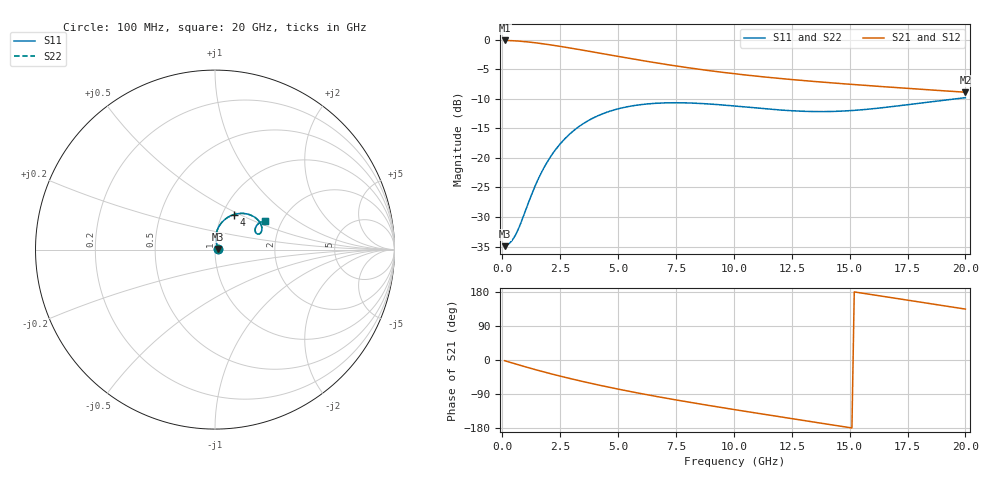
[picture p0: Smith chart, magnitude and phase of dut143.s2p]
! Created with skrf 1.9.0 (http://scikit-rf.org).
# GHz S RI R 50.0
!freq ReS11 ImS11 ReS21 ImS21 ReS12 ImS12 ReS22 ImS22
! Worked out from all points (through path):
!   200 points, 100 MHz to 20 GHz, reference 50 ohm
!   highest |S21| = -0.16 dB at 100 MHz (marker M1); lowest = -8.9 dB at 20 GHz (marker M2)
!   group delay of S21, straight-line fit = 29.6 ps
!   lowest |S11| = -34.9 dB at 100 MHz (marker M3), VSWR 1.04, Z = 51.8 + j0.295 ohm
!   |S11| at or under -10 dB: start of sweep to 19.62 GHz
!   |S22| runs from -34.9 to -9.8 dB; largest |S21 - S12| = 2.6e-15
!   S11 on the Smith chart (normalised r, x): 100 MHz: 1.04, +0.01; 4 GHz: 1.13, +0.46; 20 GHz: 1.65, +0.58
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0.1  0.0177 0.00285  0.9814 -0.0317  0.9814 -0.0317  0.0177 0.00285
0.4  0.0161 0.0115  0.9699 -0.1251  0.9699 -0.1251  0.0161 0.0115
0.6  0.014 0.018  0.9553 -0.1852  0.9553 -0.1852  0.014 0.018
0.8  0.0114 0.0257  0.9357 -0.2429  0.9357 -0.2429  0.0114 0.0257
1.4  0.00505 0.0565  0.8522 -0.3964  0.8522 -0.3964  0.00505 0.0565
1.7  0.00517 0.0756  0.8004 -0.4608  0.8004 -0.4608  0.00517 0.0756
2  0.00862 0.0959  0.7441 -0.5167  0.7441 -0.5167  0.00862 0.0959
2.3  0.0157 0.1162  0.685 -0.5643  0.685 -0.5643  0.0157 0.1162
2.7  0.0303 0.1416  0.6038 -0.6157  0.6038 -0.6157  0.0303 0.1416
3.5  0.0729 0.1806  0.4408 -0.6811  0.4408 -0.6811  0.0729 0.1806
4  0.1039 0.1947  0.3429 -0.7005  0.3429 -0.7005  0.1039 0.1947
5.2  0.175 0.1992  0.1322 -0.6966  0.1322 -0.6966  0.175 0.1992
6  0.2117 0.1861  0.0145 -0.6662  0.0145 -0.6662  0.2117 0.1861
6.8  0.2376 0.1666  -0.0849 -0.6222  -0.0849 -0.6222  0.2376 0.1666
8.4  0.2603 0.1257  -0.2356 -0.5123  -0.2356 -0.5123  0.2603 0.1257
10.1  0.2561 0.0957  -0.34 -0.3826  -0.34 -0.3826  0.2561 0.0957
11.7  0.2414 0.0863  -0.3981 -0.2581  -0.3981 -0.2581  0.2414 0.0863
13.4  0.2274 0.0943  -0.4243 -0.1278  -0.4243 -0.1278  0.2274 0.0943
15  0.2236 0.1126  -0.4186 -0.0114  -0.4186 -0.0114  0.2236 0.1126
16.7  0.2328 0.135  -0.3835 0.0997  -0.3835 0.0997  0.2328 0.135
18.4  0.2542 0.1521  -0.3235 0.1916  -0.3235 0.1916  0.2542 0.1521
20  0.2806 0.1582  -0.2509 0.2562  -0.2509 0.2562  0.2806 0.1582
